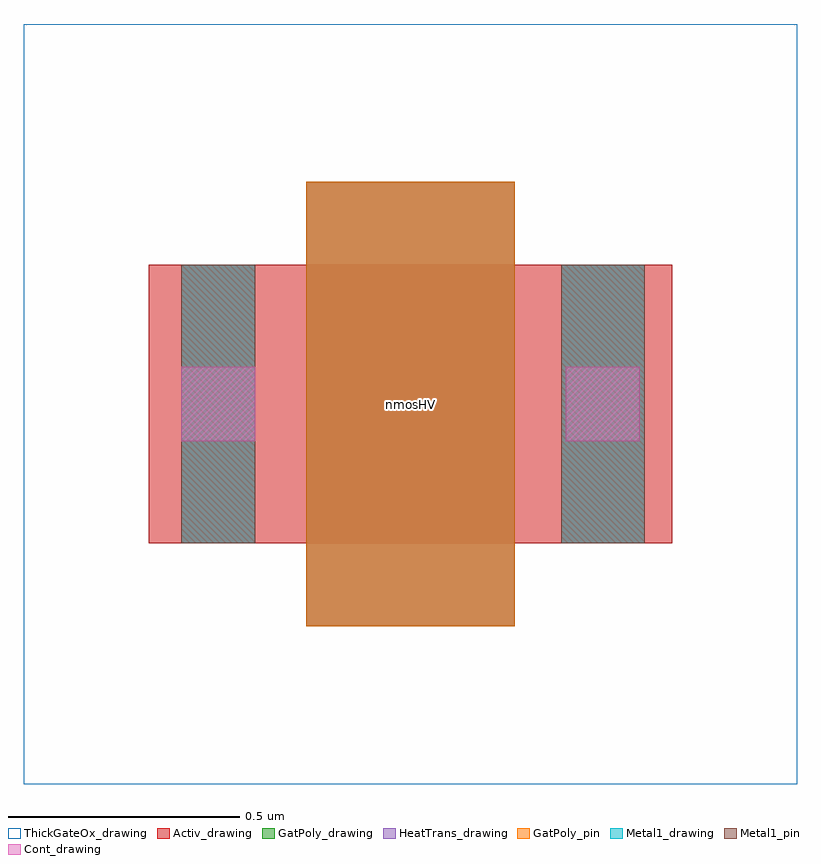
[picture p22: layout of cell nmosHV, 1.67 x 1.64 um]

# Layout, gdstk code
import gdstk
lib = gdstk.Library(unit=1e-6, precision=1e-09)
def R(c, l, rs):  # rectangles x0, y0, x1, y1
    for r in rs: c.add(gdstk.rectangle(r[:2], r[2:], *l))
Activ_drawing = (1, 0)
GatPoly_drawing = (5, 0)
GatPoly_pin = (5, 2)
Cont_drawing = (6, 0)
Metal1_drawing = (8, 0)
Metal1_pin = (8, 2)
ThickGateOx_drawing = (44, 0)
HeatTrans_drawing = (51, 0)

nmoshv = lib.new_cell('nmosHV')
R(nmoshv, Activ_drawing, [(0,0,1.13,0.6), (0,0,0.3,0.3), (0.83,0,1.13,0.3)])
R(nmoshv, GatPoly_drawing, [(0.34,-0.18,0.79,0.78)])
R(nmoshv, GatPoly_pin, [(0.34,-0.18,0.79,0.78)])
R(nmoshv, Cont_drawing, [(0.07,0.22,0.23,0.38), (0.9,0.22,1.06,0.38)])
R(nmoshv, Metal1_drawing, [(0.07,0,0.23,0.6), (0.89,0,1.07,0.6)])
R(nmoshv, Metal1_pin, [(0.07,0,0.23,0.6), (0.89,0,1.07,0.6)])
R(nmoshv, ThickGateOx_drawing, [(-0.27,-0.52,1.4,1.12)])
R(nmoshv, HeatTrans_drawing, [(0.34,-0.18,0.79,0.78)])
nmoshv.add(gdstk.Label('nmosHV', (0.565,0.3), layer=63, texttype=0))
nmoshv.add(gdstk.Label('nmosHV', (0.565,0.3), layer=51, texttype=0))

lib.write_gds('nmosHV.gds')
